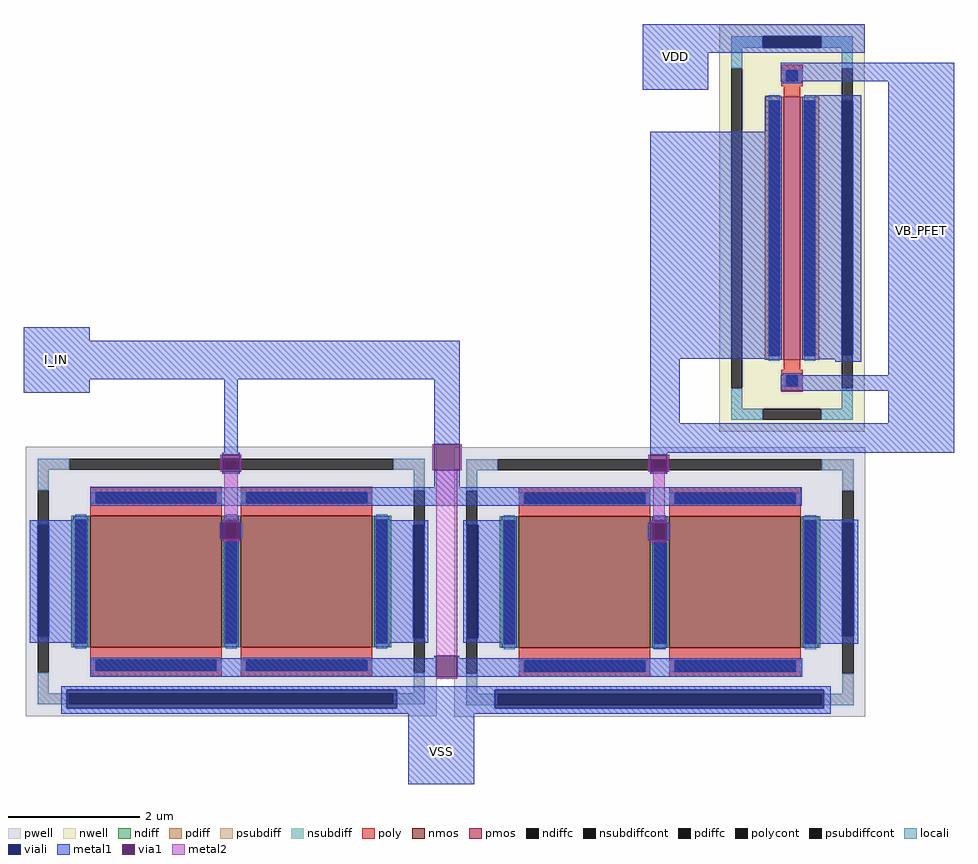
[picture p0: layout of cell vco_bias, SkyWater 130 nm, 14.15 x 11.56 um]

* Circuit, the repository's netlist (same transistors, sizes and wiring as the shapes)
** sch_path: /home/ttuser/ttsky26a-analog-voltage-controlled-oscillator/xschem/vco_bias.sch
.subckt vco_bias VDD VSS I_IN VB_PFET
*.PININFO VDD:B VSS:B I_IN:I VB_PFET:O
XM1 I_IN I_IN VSS VSS sky130_fd_pr__nfet_01v8 L=2 W=4 nf=2 m=1
XM2 VB_PFET I_IN VSS VSS sky130_fd_pr__nfet_01v8 L=2 W=4 nf=2 m=1
XM3 VB_PFET VB_PFET VDD VDD sky130_fd_pr__pfet_01v8 L=0.25 W=4 nf=1 m=1
.ends
.end

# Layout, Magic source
magic
tech sky130A
magscale 1 2
<< viali >>
rect 2606 784 2784 818
rect 2846 -152 2880 624
rect 400 -1008 434 -666
rect 1542 -1012 1576 -668
rect 1706 -1012 1740 -668
rect 2848 -1006 2882 -662
rect 488 -1226 1492 -1170
rect 1790 -1226 2792 -1170
<< metal1 >>
rect 2240 818 2916 856
rect 2240 784 2606 818
rect 2784 784 2916 818
rect 2240 768 2916 784
rect 2240 656 2440 768
rect 2660 682 3188 738
rect 2614 528 2660 638
rect 358 -107 558 -66
rect 358 -225 1684 -107
rect 358 -266 558 -225
rect 968 -448 1008 -225
rect 1606 -423 1684 -225
rect 962 -454 1014 -448
rect 962 -512 1014 -506
rect 1606 -554 1684 -501
rect 2264 -162 2660 528
rect 2264 -358 2354 -162
rect 2614 -166 2660 -162
rect 2732 624 2906 640
rect 2732 -152 2846 624
rect 2880 -152 2906 624
rect 2732 -164 2906 -152
rect 2826 -172 2906 -164
rect 2988 -212 3188 682
rect 2660 -260 3188 -212
rect 2988 -358 3188 -260
rect 2264 -448 3188 -358
rect 2264 -454 2316 -448
rect 2264 -512 2316 -506
rect 560 -610 2724 -554
rect 376 -666 544 -654
rect 376 -1008 400 -666
rect 434 -1008 544 -666
rect 956 -712 962 -660
rect 1014 -712 1020 -660
rect 1428 -668 1588 -654
rect 376 -1026 544 -1008
rect 968 -1038 1008 -712
rect 1428 -1012 1542 -668
rect 1576 -1012 1588 -668
rect 1428 -1026 1588 -1012
rect 1694 -668 1850 -654
rect 2734 -662 2896 -652
rect 1694 -1012 1706 -668
rect 1740 -1012 1850 -668
rect 2258 -714 2264 -662
rect 2316 -714 2322 -662
rect 1694 -1026 1850 -1012
rect 2273 -1045 2308 -714
rect 2734 -1006 2848 -662
rect 2882 -1006 2896 -662
rect 2734 -1030 2896 -1006
rect 1607 -1074 1613 -1066
rect 560 -1130 1613 -1074
rect 1677 -1074 1683 -1066
rect 1677 -1130 2726 -1074
rect 472 -1170 2812 -1158
rect 472 -1226 488 -1170
rect 1492 -1226 1790 -1170
rect 2792 -1226 2812 -1170
rect 472 -1242 2812 -1226
rect 1528 -1456 1728 -1242
<< via1 >>
rect 962 -506 1014 -454
rect 1606 -501 1684 -423
rect 2264 -506 2316 -454
rect 962 -712 1014 -660
rect 2264 -714 2316 -662
rect 1613 -1130 1677 -1066
<< metal2 >>
rect 956 -506 962 -454
rect 1014 -506 1020 -454
rect 1600 -501 1606 -423
rect 1684 -501 1690 -423
rect 968 -654 1008 -506
rect 962 -660 1014 -654
rect 962 -718 1014 -712
rect 1613 -1066 1677 -501
rect 2258 -506 2264 -454
rect 2316 -506 2322 -454
rect 2272 -656 2308 -506
rect 2264 -662 2316 -656
rect 2264 -720 2316 -714
rect 1613 -1136 1677 -1130
use sky130_fd_pr__nfet_01v8_XVWV9B  XM1
transform 1 0 989 0 1 -840
box -625 -410 625 410
use sky130_fd_pr__nfet_01v8_XVWV9B  XM2
transform 1 0 2293 0 1 -842
box -625 -410 625 410
use sky130_fd_pr__pfet_01v8_NDBSV3  XM3
transform 1 0 2695 0 1 235
box -221 -619 221 619
<< labels >>
flabel metal1 2240 656 2440 856 0 FreeSans 256 0 0 0 VDD
port 0 nsew
flabel metal1 1528 -1456 1728 -1256 0 FreeSans 256 0 0 0 VSS
port 1 nsew
flabel metal1 358 -266 558 -66 0 FreeSans 256 0 0 0 I_IN
port 2 nsew
flabel metal1 2988 128 3188 328 0 FreeSans 256 0 0 0 VB_PFET
port 3 nsew
<< end >>

# cell sky130_fd_pr__nfet_01v8_XVWV9B: kit device sky130_fd_pr__nfet_01v8, w 2.0 l 2.0 m 1 nf 2 diffcov 100 polycov 100 guard 1 glc 1 grc 1 gtc 1 gbc 1 tbcov 100 rlcov 100 topc 1 botc 1 poverlap 0 doverlap 1 lmin 0.15 wmin 0.42 compatible {sky130_fd_pr__nfet_01v8 sky130_fd_pr__nfet_01v8_lvt sky130_fd_bs_flash__special_sonosfet_star sky130_fd_pr__nfet_g5v0d10v5 sky130_fd_pr__nfet_05v0_nvt sky130_fd_pr__nfet_03v3_nvt} full_metal 1 viasrc 100 viadrn 100 viagate 100 viagb 0 viagr 0 viagl 0 viagt 0

# cell sky130_fd_pr__pfet_01v8_NDBSV3: kit device sky130_fd_pr__pfet_01v8, w 4.0 l 0.25 m 1 nf 1 diffcov 100 polycov 100 guard 1 glc 1 grc 1 gtc 1 gbc 1 tbcov 100 rlcov 100 topc 1 botc 1 poverlap 0 doverlap 1 lmin 0.15 wmin 0.42 compatible {sky130_fd_pr__pfet_01v8 sky130_fd_pr__pfet_01v8_lvt sky130_fd_pr__pfet_01v8_hvt sky130_fd_pr__pfet_g5v0d10v5} full_metal 1 viasrc 100 viadrn 100 viagate 100 viagb 0 viagr 0 viagl 0 viagt 0
